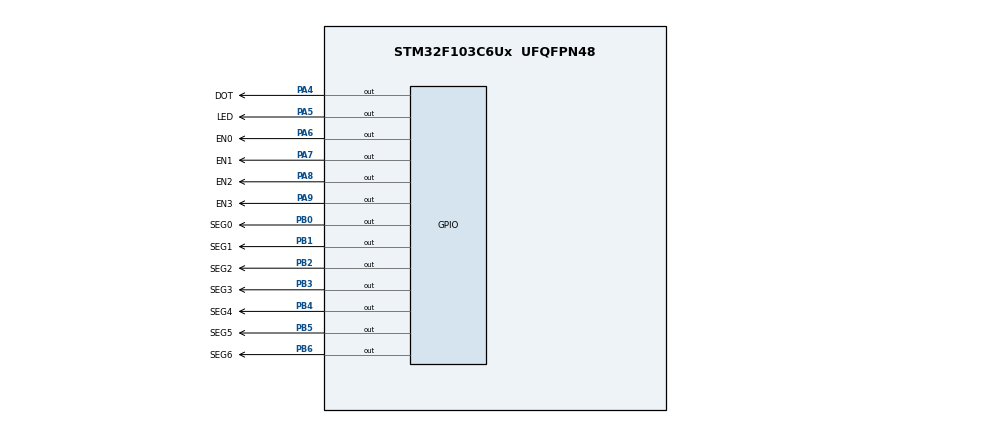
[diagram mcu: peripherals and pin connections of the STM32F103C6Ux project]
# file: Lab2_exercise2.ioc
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Mcu.Family=STM32F1
Mcu.Name=STM32F103C6Ux
Mcu.Package=UFQFPN48
NVIC.PriorityGroup=NVIC_PRIORITYGROUP_4
NVIC.TIM2_IRQn=true\:0\:0\:false\:false\:true\:true\:true
PA4.GPIO_Label=DOT
PA4.Signal=GPIO_Output
PA5.GPIO_Label=LED
PA5.Signal=GPIO_Output
PA6.GPIO_Label=EN0
PA6.Signal=GPIO_Output
PA7.GPIO_Label=EN1
PA7.Signal=GPIO_Output
PA8.GPIO_Label=EN2
PA8.Signal=GPIO_Output
PA9.GPIO_Label=EN3
PA9.Signal=GPIO_Output
PB0.GPIO_Label=SEG0
PB0.Signal=GPIO_Output
PB1.GPIO_Label=SEG1
PB1.Signal=GPIO_Output
PB2.GPIO_Label=SEG2
PB2.Signal=GPIO_Output
PB3.GPIO_Label=SEG3
PB3.Signal=GPIO_Output
PB4.GPIO_Label=SEG4
PB4.Signal=GPIO_Output
PB5.GPIO_Label=SEG5
PB5.Signal=GPIO_Output
PB6.GPIO_Label=SEG6
PB6.Signal=GPIO_Output
ProjectManager.HeapSize=0x200
ProjectManager.StackSize=0x400
ProjectManager.TargetToolchain=STM32CubeIDE
RCC.APB1Freq_Value=8000000
RCC.APB2Freq_Value=8000000
TIM2.Period=499
TIM2.Prescaler=7999
VP_SYS_VS_ND.Mode=No_Debug
VP_TIM2_VS_ClockSourceINT.Mode=Internal
board=custom

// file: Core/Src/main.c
/* USER CODE BEGIN Header */
/**
  ******************************************************************************
  * @file           : main.c
  * @brief          : Main program body
  ******************************************************************************
  * @attention
  *
  * <h2><center>&copy; Copyright (c) 2025 STMicroelectronics.
  * All rights reserved.</center></h2>
  *
  * This software component is licensed by ST under BSD 3-Clause license,
  * the "License"; You may not use this file except in compliance with the
  * License. You may obtain a copy of the License at:
  *                        opensource.org/licenses/BSD-3-Clause
  *
  ******************************************************************************
  */
/* USER CODE END Header */
#include "main.h"
#include "Ex2.h"

TIM_HandleTypeDef htim2;

void SystemClock_Config(void);
static void MX_GPIO_Init(void);
static void MX_TIM2_Init(void);

int main(void)
{

  /* MCU Configuration--------------------------------------------------------*/

  /* Reset of all peripherals, Initializes the Flash interface and the Systick. */
  HAL_Init();

  /* Configure the system clock */
  SystemClock_Config();

  /* Initialize all configured peripherals */
  MX_GPIO_Init();
  MX_TIM2_Init();
  /* USER CODE BEGIN 2 */
  HAL_TIM_Base_Start_IT(&htim2);
  /* USER CODE END 2 */

  /* Infinite loop */
  while (1)
  {

  }
}

void SystemClock_Config(void)
{
  RCC_OscInitTypeDef RCC_OscInitStruct = {0};
  RCC_ClkInitTypeDef RCC_ClkInitStruct = {0};

  /** Initializes the RCC Oscillators according to the specified parameters
  * in the RCC_OscInitTypeDef structure.
  */
  RCC_OscInitStruct.OscillatorType = RCC_OSCILLATORTYPE_HSI;
  RCC_OscInitStruct.HSIState = RCC_HSI_ON;
  RCC_OscInitStruct.HSICalibrationValue = RCC_HSICALIBRATION_DEFAULT;
  RCC_OscInitStruct.PLL.PLLState = RCC_PLL_NONE;
  if (HAL_RCC_OscConfig(&RCC_OscInitStruct) != HAL_OK)
  {
    Error_Handler();
  }
  /** Initializes the CPU, AHB and APB buses clocks
  */
  RCC_ClkInitStruct.ClockType = RCC_CLOCKTYPE_HCLK|RCC_CLOCKTYPE_SYSCLK
                              |RCC_CLOCKTYPE_PCLK1|RCC_CLOCKTYPE_PCLK2;
  RCC_ClkInitStruct.SYSCLKSource = RCC_SYSCLKSOURCE_HSI;
  RCC_ClkInitStruct.AHBCLKDivider = RCC_SYSCLK_DIV1;
  RCC_ClkInitStruct.APB1CLKDivider = RCC_HCLK_DIV1;
  RCC_ClkInitStruct.APB2CLKDivider = RCC_HCLK_DIV1;

  if (HAL_RCC_ClockConfig(&RCC_ClkInitStruct, FLASH_LATENCY_0) != HAL_OK)
  {
    Error_Handler();
  }
}

static void MX_TIM2_Init(void)
{

  TIM_ClockConfigTypeDef sClockSourceConfig = {0};
  TIM_MasterConfigTypeDef sMasterConfig = {0};

  htim2.Instance = TIM2;
  htim2.Init.Prescaler = 7999;
  htim2.Init.CounterMode = TIM_COUNTERMODE_UP;
  htim2.Init.Period = 499;
  htim2.Init.ClockDivision = TIM_CLOCKDIVISION_DIV1;
  htim2.Init.AutoReloadPreload = TIM_AUTORELOAD_PRELOAD_DISABLE;
  if (HAL_TIM_Base_Init(&htim2) != HAL_OK)
  {
    Error_Handler();
  }
  sClockSourceConfig.ClockSource = TIM_CLOCKSOURCE_INTERNAL;
  if (HAL_TIM_ConfigClockSource(&htim2, &sClockSourceConfig) != HAL_OK)
  {
    Error_Handler();
  }
  sMasterConfig.MasterOutputTrigger = TIM_TRGO_RESET;
  sMasterConfig.MasterSlaveMode = TIM_MASTERSLAVEMODE_DISABLE;
  if (HAL_TIMEx_MasterConfigSynchronization(&htim2, &sMasterConfig) != HAL_OK)
  {
    Error_Handler();
  }

}

static void MX_GPIO_Init(void)
{
  GPIO_InitTypeDef GPIO_InitStruct = {0};

  /* GPIO Ports Clock Enable */
  __HAL_RCC_GPIOA_CLK_ENABLE();
  __HAL_RCC_GPIOB_CLK_ENABLE();

  /*Configure GPIO pin Output Level */
  HAL_GPIO_WritePin(GPIOA, DOT_Pin|LED_Pin|EN0_Pin|EN1_Pin
                          |EN2_Pin|EN3_Pin, GPIO_PIN_RESET);

  /*Configure GPIO pin Output Level */
  HAL_GPIO_WritePin(GPIOB, SEG0_Pin|SEG1_Pin|SEG2_Pin|SEG3_Pin
                          |SEG4_Pin|SEG5_Pin|SEG6_Pin, GPIO_PIN_RESET);

  /*Configure GPIO pins : DOT_Pin LED_Pin EN0_Pin EN1_Pin
                           EN2_Pin EN3_Pin */
  GPIO_InitStruct.Pin = DOT_Pin|LED_Pin|EN0_Pin|EN1_Pin
                          |EN2_Pin|EN3_Pin;
  GPIO_InitStruct.Mode = GPIO_MODE_OUTPUT_PP;
  GPIO_InitStruct.Pull = GPIO_NOPULL;
  GPIO_InitStruct.Speed = GPIO_SPEED_FREQ_LOW;
  HAL_GPIO_Init(GPIOA, &GPIO_InitStruct);

  /*Configure GPIO pins : SEG0_Pin SEG1_Pin SEG2_Pin SEG3_Pin
                           SEG4_Pin SEG5_Pin SEG6_Pin */
  GPIO_InitStruct.Pin = SEG0_Pin|SEG1_Pin|SEG2_Pin|SEG3_Pin
                          |SEG4_Pin|SEG5_Pin|SEG6_Pin;
  GPIO_InitStruct.Mode = GPIO_MODE_OUTPUT_PP;
  GPIO_InitStruct.Pull = GPIO_NOPULL;
  GPIO_InitStruct.Speed = GPIO_SPEED_FREQ_LOW;
  HAL_GPIO_Init(GPIOB, &GPIO_InitStruct);

}

/* USER CODE BEGIN 4 */
int counter = 100;
int current_digit = 1;
int dot_counter = 0;
void HAL_TIM_PeriodElapsedCallback (TIM_HandleTypeDef *htim){
	counter--;
	if (counter <= 0){
		counter = 100;
		HAL_GPIO_TogglePin(LED_GPIO_Port, LED_Pin);
	}

	//Off all 7_segment
	HAL_GPIO_WritePin(EN0_GPIO_Port, EN0_Pin, GPIO_PIN_SET);
	HAL_GPIO_WritePin(EN1_GPIO_Port, EN1_Pin, GPIO_PIN_SET);
	HAL_GPIO_WritePin(EN2_GPIO_Port, EN2_Pin, GPIO_PIN_SET);
	HAL_GPIO_WritePin(EN3_GPIO_Port, EN3_Pin, GPIO_PIN_SET);

	if (current_digit == 1){
		HAL_GPIO_WritePin(EN0_GPIO_Port, EN0_Pin, GPIO_PIN_RESET);
		display7SEG(1);
		current_digit = 2;
	} else if (current_digit == 2){
		HAL_GPIO_WritePin(EN1_GPIO_Port, EN1_Pin, GPIO_PIN_RESET);
		display7SEG(2);
		current_digit = 3;
	} else if (current_digit == 3){
		HAL_GPIO_WritePin(EN2_GPIO_Port, EN2_Pin, GPIO_PIN_RESET);
		display7SEG(3);
		current_digit = 0;
	} else {
		HAL_GPIO_WritePin(EN3_GPIO_Port, EN3_Pin, GPIO_PIN_RESET);
		display7SEG(0);
		current_digit = 1;
	}

	// DOT Leds blinking every 1s --> 2 interrupt = 1s
	dot_counter++;
	if (dot_counter >= 2){ 		//	2 interrupts = 1s
		HAL_GPIO_TogglePin(DOT_GPIO_Port, DOT_Pin);
		dot_counter = 0;
	}
}
/* USER CODE END 4 */

void Error_Handler(void)
{
  __disable_irq();
  while (1)
  {
  }
}

/************************ (C) COPYRIGHT STMicroelectronics *****END OF FILE****/
